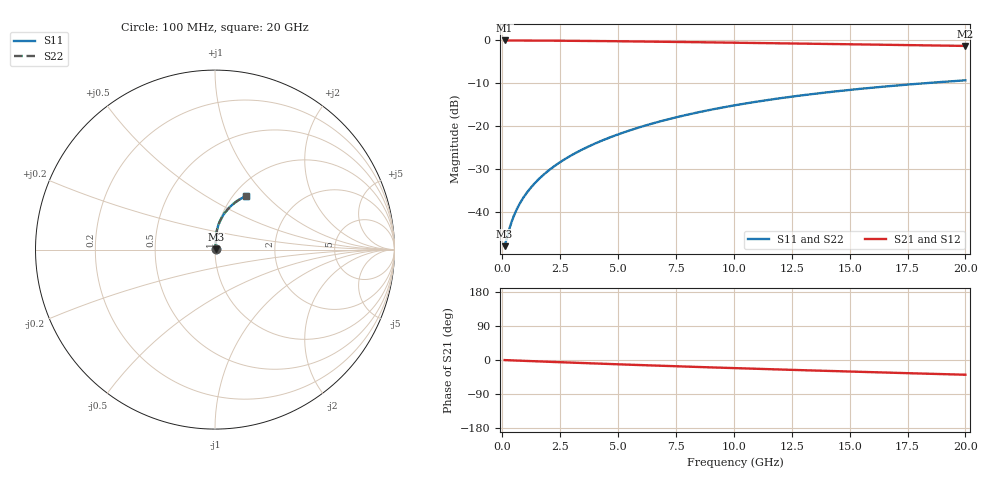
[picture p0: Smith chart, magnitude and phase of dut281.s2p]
! Touchstone file exported from HFSS 2024.1.0
!  File:  C:/UserFiles/LocalFiles/RDL_TSV_Batchsim/temp_RDL_top_281_1778690060.aedt
!  Generated:  12:36:50 AM May 14, 2026
!  Design:  RDL_top
!  Project:  temp_RDL_top_281_1778690060
!  Setup:  Setup1
!  Solution:  Sweep
! Variables:
!  dtsv = 10.80580581um
!  hbump = 3um
!  htsv = 88.18um
!  ldown = 100um
!  lrdl = 530.12um
!  p = 40
!  p1 = 53.88um
!  rhole = 1um
!  t = 450um
!  tdown = 3.915915916um
!  trdl = 2.16um
!  wdown = 15.38538539um
!  wrdl = 26.36um
# GHz S MA R 50.000000
! Terminal data exported
! Port[1] = Box2_T1
! Port[2] = Box2_T2
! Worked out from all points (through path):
!   200 points, 100 MHz to 20 GHz, reference 50 ohm
!   highest |S21| = -0.03 dB at 100 MHz (marker M1); lowest = -1.3 dB at 20 GHz (marker M2)
!   group delay of S21, straight-line fit = 5.35 ps
!   lowest |S11| = -47.9 dB at 100 MHz (marker M3), VSWR 1.01, Z = 50.4 + j0.173 ohm
!   |S11| at or under -10 dB: start of sweep to 18.19 GHz
!   |S22| runs from -47.9 to -9.3 dB; largest |S21 - S12| = 2.1e-15
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0.1  0.004045 25.1  0.9963 -0.2  0.9963 -0.2  0.004045 25.1
! Gamma 0 0 0 0
! Port Impedance 50 0 50 0
0.3  0.006361 52.0  0.996 -0.7  0.996 -0.7  0.006361 52.0
0.4  0.007731 58.2  0.9958 -1.0  0.9958 -1.0  0.007731 58.2
0.5  0.009118 62.5  0.9955 -1.2  0.9955 -1.2  0.009118 62.5
0.6  0.0105 65.6  0.9953 -1.5  0.9953 -1.5  0.0105 65.6
0.7  0.01189 68.1  0.995 -1.7  0.995 -1.7  0.01189 68.1
0.9  0.01467 71.9  0.9946 -2.2  0.9946 -2.2  0.01467 71.9
1.2  0.01891 75.8  0.9939 -2.9  0.9939 -2.9  0.01891 75.8
1.7  0.02618 79.8  0.9924 -4.0  0.9924 -4.0  0.02618 79.8
2.2  0.03372 82.3  0.9907 -5.2  0.9907 -5.2  0.03372 82.3
2.8  0.04312 84.0  0.9882 -6.5  0.9882 -6.5  0.04311 84.0
3.5  0.05455 85.2  0.9847 -8.1  0.9847 -8.1  0.05454 85.1
4.2  0.06646 85.6  0.9807 -9.6  0.9807 -9.6  0.06644 85.6
5  0.08059 85.6  0.9757 -11.4  0.9757 -11.4  0.08057 85.5
5.9  0.09703 85.0  0.9696 -13.3  0.9696 -13.3  0.09699 85.0
6.8  0.1139 84.0  0.9631 -15.1  0.9631 -15.1  0.1138 84.0
8.4  0.1444 81.7  0.9511 -18.3  0.9511 -18.3  0.1443 81.6
10.1  0.1768 78.6  0.9381 -21.6  0.9381 -21.6  0.1767 78.6
11.7  0.2067 75.6  0.9256 -24.6  0.9256 -24.6  0.2066 75.6
13.4  0.2374 72.3  0.9123 -27.7  0.9123 -27.7  0.2373 72.3
16.7  0.2931 66.0  0.8864 -33.4  0.8864 -33.4  0.2929 66.0
20  0.3428 60.1  0.8607 -38.9  0.8607 -38.9  0.3426 60.0
